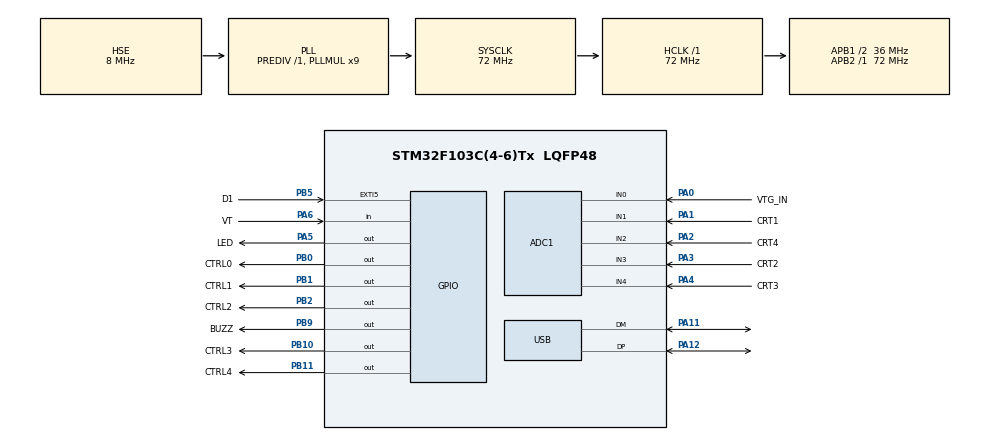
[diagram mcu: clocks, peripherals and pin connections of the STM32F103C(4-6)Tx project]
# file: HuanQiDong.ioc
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ADC1.Channel-0\#ChannelRegularConversion=ADC_CHANNEL_0
ADC1.Channel-1\#ChannelRegularConversion=ADC_CHANNEL_1
ADC1.Channel-2\#ChannelRegularConversion=ADC_CHANNEL_2
ADC1.Channel-3\#ChannelRegularConversion=ADC_CHANNEL_3
ADC1.Channel-4\#ChannelRegularConversion=ADC_CHANNEL_4
ADC1.ContinuousConvMode=DISABLE
ADC1.DataAlign=ADC_DATAALIGN_RIGHT
ADC1.NbrOfConversion=5
ADC1.NbrOfConversionFlag=1
ADC1.Rank-0\#ChannelRegularConversion=1
ADC1.Rank-1\#ChannelRegularConversion=2
ADC1.Rank-2\#ChannelRegularConversion=3
ADC1.Rank-3\#ChannelRegularConversion=4
ADC1.Rank-4\#ChannelRegularConversion=5
ADC1.SamplingTime-0\#ChannelRegularConversion=ADC_SAMPLETIME_13CYCLES_5
ADC1.SamplingTime-1\#ChannelRegularConversion=ADC_SAMPLETIME_13CYCLES_5
ADC1.SamplingTime-2\#ChannelRegularConversion=ADC_SAMPLETIME_13CYCLES_5
ADC1.SamplingTime-3\#ChannelRegularConversion=ADC_SAMPLETIME_13CYCLES_5
ADC1.SamplingTime-4\#ChannelRegularConversion=ADC_SAMPLETIME_13CYCLES_5
ADC1.master=1
Dma.ADC1.0.Direction=DMA_PERIPH_TO_MEMORY
Dma.ADC1.0.Instance=DMA1_Channel1
Dma.ADC1.0.MemDataAlignment=DMA_MDATAALIGN_HALFWORD
Dma.ADC1.0.MemInc=DMA_MINC_ENABLE
Dma.ADC1.0.Mode=DMA_CIRCULAR
Dma.ADC1.0.PeriphDataAlignment=DMA_PDATAALIGN_HALFWORD
Dma.ADC1.0.PeriphInc=DMA_PINC_DISABLE
Dma.ADC1.0.Priority=DMA_PRIORITY_HIGH
Dma.Request0=ADC1
Mcu.Family=STM32F1
Mcu.Name=STM32F103C(4-6)Tx
Mcu.Package=LQFP48
NVIC.DMA1_Channel1_IRQn=true\:0\:0\:false\:false\:true\:false\:true\:true
NVIC.EXTI9_5_IRQn=true\:0\:0\:false\:false\:true\:true\:true\:true
NVIC.PriorityGroup=NVIC_PRIORITYGROUP_4
NVIC.TIM2_IRQn=true\:0\:0\:false\:false\:true\:true\:true\:true
NVIC.TIM3_IRQn=true\:0\:0\:false\:false\:true\:true\:true\:true
NVIC.USB_LP_CAN1_RX0_IRQn=true\:0\:0\:false\:false\:true\:false\:true\:true
PA0-WKUP.GPIO_Label=VTG_IN
PA0-WKUP.Signal=ADCx_IN0
PA1.GPIO_Label=CRT1
PA1.Signal=ADCx_IN1
PA11.Mode=Device
PA11.Signal=USB_DM
PA12.Mode=Device
PA12.Signal=USB_DP
PA13.Mode=Serial_Wire
PA13.Signal=SYS_JTMS-SWDIO
PA14.Mode=Serial_Wire
PA14.Signal=SYS_JTCK-SWCLK
PA2.GPIO_Label=CRT4
PA2.Signal=ADCx_IN2
PA3.GPIO_Label=CRT2
PA3.Signal=ADCx_IN3
PA4.GPIO_Label=CRT3
PA4.Signal=ADCx_IN4
PA5.GPIO_Label=LED
PA5.Signal=GPIO_Output
PA6.GPIO_Label=VT
PA6.Signal=GPIO_Input
PB0.GPIO_Label=CTRL0
PB0.Signal=GPIO_Output
PB1.GPIO_Label=CTRL1
PB1.Signal=GPIO_Output
PB10.GPIO_Label=CTRL3
PB10.Signal=GPIO_Output
PB11.GPIO_Label=CTRL4
PB11.Signal=GPIO_Output
PB2.GPIO_Label=CTRL2
PB2.Signal=GPIO_Output
PB5.GPIO_Label=D1
PB5.GPIO_ModeDefaultEXTI=GPIO_MODE_IT_RISING_FALLING
PB5.GPIO_PuPd=GPIO_PULLDOWN
PB5.Signal=GPXTI5
PB9.GPIO_Label=BUZZ
PB9.Signal=GPIO_Output
PD0-OSC_IN.Mode=HSE-External-Oscillator
PD0-OSC_IN.Signal=RCC_OSC_IN
PD1-OSC_OUT.Mode=HSE-External-Oscillator
PD1-OSC_OUT.Signal=RCC_OSC_OUT
ProjectManager.HeapSize=0x200
ProjectManager.StackSize=0x400
ProjectManager.TargetToolchain=MDK-ARM V5.32
RCC.ADCPresc=RCC_ADCPCLK2_DIV6
RCC.AHBFreq_Value=72000000
RCC.APB1CLKDivider=RCC_HCLK_DIV2
RCC.APB1Freq_Value=36000000
RCC.APB1TimFreq_Value=72000000
RCC.APB2Freq_Value=72000000
RCC.APB2TimFreq_Value=72000000
RCC.HCLKFreq_Value=72000000
RCC.PLLMUL=RCC_PLL_MUL9
RCC.SYSCLKFreq_VALUE=72000000
RCC.SYSCLKSource=RCC_SYSCLKSOURCE_PLLCLK
RCC.USBFreq_Value=48000000
RCC.USBPrescaler=RCC_USBCLKSOURCE_PLL_DIV1_5
SH.ADCx_IN0.0=ADC1_IN0,IN0
SH.ADCx_IN1.0=ADC1_IN1,IN1
SH.ADCx_IN2.0=ADC1_IN2,IN2
SH.ADCx_IN3.0=ADC1_IN3,IN3
SH.ADCx_IN4.0=ADC1_IN4,IN4
TIM2.Period=999
TIM2.Prescaler=7199
TIM3.Period=99
TIM3.Prescaler=719
USB_DEVICE.APP_RX_DATA_SIZE=1024
USB_DEVICE.APP_TX_DATA_SIZE=1024
USB_DEVICE.CLASS_NAME_FS=CDC
USB_DEVICE.VirtualMode=Cdc
USB_DEVICE.VirtualModeFS=Cdc_FS
VP_TIM2_VS_ClockSourceINT.Mode=Internal
VP_TIM3_VS_ClockSourceINT.Mode=Internal
VP_USB_DEVICE_VS_USB_DEVICE_CDC_FS.Mode=CDC_FS
board=custom

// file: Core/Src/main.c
/* USER CODE BEGIN Header */
/**
 ******************************************************************************
 * @file           : main.c
 * @brief          : Main program body
 ******************************************************************************
 * @attention
 *
 * Copyright (c) 2025 STMicroelectronics.
 * All rights reserved.
 *
 * This software is licensed under terms that can be found in the LICENSE file
 * in the root directory of this software component.
 * If no LICENSE file comes with this software, it is provided AS-IS.
 *
 ******************************************************************************
 */
/* USER CODE END Header */
#include "main.h"
#include "adc.h"
#include "dma.h"
#include "tim.h"
#include "usb_device.h"
#include "gpio.h"

/* USER CODE BEGIN Includes */
#include "usb_proto.h"
#include "mos.h"
/* USER CODE END Includes */

void SystemClock_Config(void);

/* USER CODE BEGIN 0 */
volatile uint16_t adc_buf[5];
/* USER CODE END 0 */

int main(void)
{

  /* MCU Configuration--------------------------------------------------------*/

  /* Reset of all peripherals, Initializes the Flash interface and the Systick. */
  HAL_Init();

  /* Configure the system clock */
  SystemClock_Config();

  /* Initialize all configured peripherals */
  MX_GPIO_Init();
  MX_DMA_Init();
  MX_ADC1_Init();
  MX_TIM2_Init();
  MX_USB_DEVICE_Init();
  MX_TIM3_Init();
  /* USER CODE BEGIN 2 */
    config_load();
    HAL_ADCEx_Calibration_Start(&hadc1);
    usb_mbproto_init();
    HAL_TIM_Base_Start_IT(&htim2);
    HAL_TIM_Base_Start_IT(&htim3);
  /* USER CODE END 2 */

  /* Infinite loop */
  /* USER CODE BEGIN WHILE */
    while (1)
    {
        usb_mbproto_poll();
    /* USER CODE END WHILE */

    }
}

void SystemClock_Config(void)
{
  RCC_OscInitTypeDef RCC_OscInitStruct = {0};
  RCC_ClkInitTypeDef RCC_ClkInitStruct = {0};
  RCC_PeriphCLKInitTypeDef PeriphClkInit = {0};

  /** Initializes the RCC Oscillators according to the specified parameters
  * in the RCC_OscInitTypeDef structure.
  */
  RCC_OscInitStruct.OscillatorType = RCC_OSCILLATORTYPE_HSE;
  RCC_OscInitStruct.HSEState = RCC_HSE_ON;
  RCC_OscInitStruct.HSEPredivValue = RCC_HSE_PREDIV_DIV1;
  RCC_OscInitStruct.HSIState = RCC_HSI_ON;
  RCC_OscInitStruct.PLL.PLLState = RCC_PLL_ON;
  RCC_OscInitStruct.PLL.PLLSource = RCC_PLLSOURCE_HSE;
  RCC_OscInitStruct.PLL.PLLMUL = RCC_PLL_MUL9;
  if (HAL_RCC_OscConfig(&RCC_OscInitStruct) != HAL_OK)
  {
    Error_Handler();
  }

  /** Initializes the CPU, AHB and APB buses clocks
  */
  RCC_ClkInitStruct.ClockType = RCC_CLOCKTYPE_HCLK|RCC_CLOCKTYPE_SYSCLK
                              |RCC_CLOCKTYPE_PCLK1|RCC_CLOCKTYPE_PCLK2;
  RCC_ClkInitStruct.SYSCLKSource = RCC_SYSCLKSOURCE_PLLCLK;
  RCC_ClkInitStruct.AHBCLKDivider = RCC_SYSCLK_DIV1;
  RCC_ClkInitStruct.APB1CLKDivider = RCC_HCLK_DIV2;
  RCC_ClkInitStruct.APB2CLKDivider = RCC_HCLK_DIV1;

  if (HAL_RCC_ClockConfig(&RCC_ClkInitStruct, FLASH_LATENCY_2) != HAL_OK)
  {
    Error_Handler();
  }
  PeriphClkInit.PeriphClockSelection = RCC_PERIPHCLK_ADC|RCC_PERIPHCLK_USB;
  PeriphClkInit.AdcClockSelection = RCC_ADCPCLK2_DIV6;
  PeriphClkInit.UsbClockSelection = RCC_USBCLKSOURCE_PLL_DIV1_5;
  if (HAL_RCCEx_PeriphCLKConfig(&PeriphClkInit) != HAL_OK)
  {
    Error_Handler();
  }
}

/* USER CODE BEGIN 4 */
void HAL_GPIO_EXTI_Callback(uint16_t GPIO_Pin)
{
    if (GPIO_Pin == D1_Pin)
    {
        if (HAL_GPIO_ReadPin(D1_GPIO_Port, D1_Pin))
        {
            ctrl_all_mos(MOS_OPEN);
        }
        else
        {
            ctrl_all_mos(MOS_CLOSE);
        }
    }
}

void HAL_TIM_PeriodElapsedCallback(TIM_HandleTypeDef *htim)
{
    if (htim->Instance == TIM3)
    {
        HAL_ADC_Start_DMA(&hadc1, (uint32_t *)adc_buf, 5);
    }
    else if (htim->Instance == TIM2)
    {
        usb_mbproto_send_state();
    }
}

#define adc_to_v(raw) (3.3f * raw / 4095.0f)

void HAL_ADC_ConvCpltCallback(ADC_HandleTypeDef *hadc)
{
    if (hadc->Instance == ADC1)
    {
        state.vin = adc_to_v(adc_buf[0]) * 48.0f;
        for (uint8_t j = 1; j < 5; j++)
        {
            if (check(state.mos_state, (0x01 << j)))
                state.i[j] = adc_to_v(adc_buf[j]) / (51 * 0.001);
            else
                state.i[j] = 0.0f;
        }
        check_all();
    }
}

/* USER CODE END 4 */

void Error_Handler(void)
{
    __disable_irq();
    while (1)
    {
    }
}
#ifdef USE_FULL_ASSERT
/**
  * @brief  Reports the name of the source file and the source line number
  *         where the assert_param error has occurred.
  * @param  file: pointer to the source file name
  * @param  line: assert_param error line source number
  * @retval None
  */
void assert_failed(uint8_t *file, uint32_t line)
{
  /* USER CODE BEGIN 6 */
    /* User can add his own implementation to report the file name and line
       number, ex: printf("Wrong parameters value: file %s on line %d\r\n", file,
       line) */
  /* USER CODE END 6 */
}
#endif /* USE_FULL_ASSERT */
